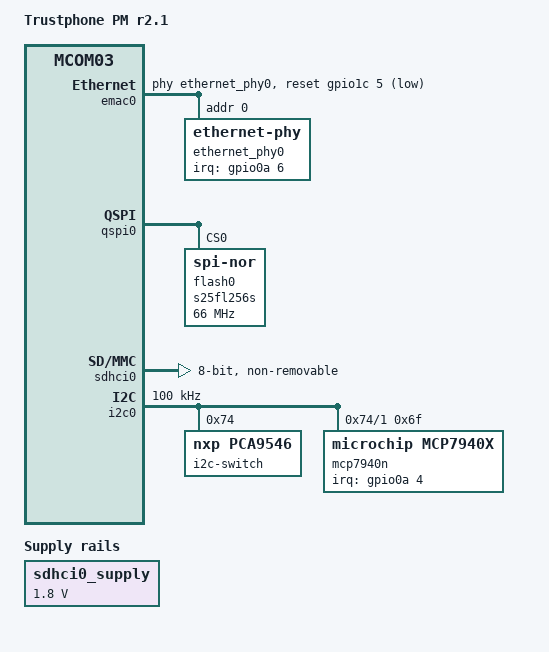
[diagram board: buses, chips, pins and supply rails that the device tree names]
// SPDX-License-Identifier: GPL-2.0+
/*
 * Copyright 2022 RnD Center "ELVEES", JSC
 */

/dts-v1/;

#include <dt-bindings/gpio/gpio.h>

#include "mcom03.dtsi"

/ {
	model = "Trustphone PM r2.1";
	compatible = "elvees,trustphonepm-r2.1",
		     "elvees,trustphonepm",
		     "elvees,mcom03";

	chosen {
		stdout-path = "serial0:115200n8";
	};

	adv7513_cec_clk: adv7513_cec_clk {
		#clock-cells = <0>;
		compatible = "fixed-clock";
		clock-frequency = <12000000>;
	};

	sdhci0_supply: regulator@0 {
		compatible = "regulator-fixed";
		regulator-name = "sdhci0-supply";
		regulator-min-microvolt = <1800000>;
		regulator-max-microvolt = <1800000>;
		regulator-always-on;
	};

	/delete-node/ sdr@1900000;
};

&emac0 {
	phy-handle = <&ethernet_phy0>;
	reset-gpios = <&gpio1c 5 GPIO_ACTIVE_LOW>;
	reset-post-delay-us = <100>;

	ethernet_phy0: ethernet-phy@0 {
		reg = <0>;
		/* This is max GTX_CLK skew (0b11111 * 60ps/step)
		 * for KSZ9031 Ethernet PHY
		 */
		txc-skew-ps = <1860>;
		interrupt-parent = <&gpio0a>;
		interrupts = <6 IRQ_TYPE_LEVEL_LOW>;
	};
};

&qspi0 {
	status = "okay";

	flash0: s25fl256s@0 {
		#address-cells = <1>;
		#size-cells = <1>;
		compatible = "jedec,spi-nor", "spi-flash";
		reg = <0x0>;
		/* This is the highest frequency at which all commands are
		 * supported by the flash device.
		 */
		spi-max-frequency = <66000000>;
		m25p,fast-read;
	};
};

&sdhci0 {
	status = "okay";
	non-removable;
	bus-width = <8>;
	vqmmc-supply = <&sdhci0_supply>;
};

&i2c0 {
	status = "okay";

	/* Not all devices are checked to 400kHz support */
	clock-frequency = <100000>;

	i2c-switch@74 {
		compatible = "nxp,pca9546";
		reg = <0x74>;
		#address-cells = <1>;
		#size-cells = <0>;

		/* i2c01 is used for TrustphoneCB */
		i2c01: i2c@0 {
			#address-cells = <1>;
			#size-cells = <0>;
			reg = <0>;
		};

		/* i2c02 doesn't connect to TrustphoneCB and is used for
		 * HDMI transmitter and RTC on TrustphonePM */
		i2c02: i2c@1 {
			#address-cells = <1>;
			#size-cells = <0>;
			reg = <1>;

			adv7513: hdmi@39 {
				compatible = "adi,adv7513";
				status = "disabled";
				reg = <0x39>, <0x3f>;
				reg-names = "main", "edid";
				interrupt-parent = <&gpio0a>;
				interrupts = <3 IRQ_TYPE_EDGE_FALLING>;
				clocks = <&adv7513_cec_clk>;
				clock-names = "cec";
				adi,input-depth = <8>;
				adi,input-colorspace = "rgb";
				adi,input-clock = "1x";
				#address-cells = <1>;
				#size-cells = <0>;
			};

			mcp7940n: rtc@6f {
				compatible = "microchip,mcp7940x";
				reg = <0x6f>;
				interrupt-parent = <&gpio0a>;
				interrupts = <4 IRQ_TYPE_EDGE_FALLING>;
			};
		};

		/* i2c03 is used for TrustphoneCB */
		i2c03: i2c@2 {
			#address-cells = <1>;
			#size-cells = <0>;
			reg = <2>;
		};
	};
};
